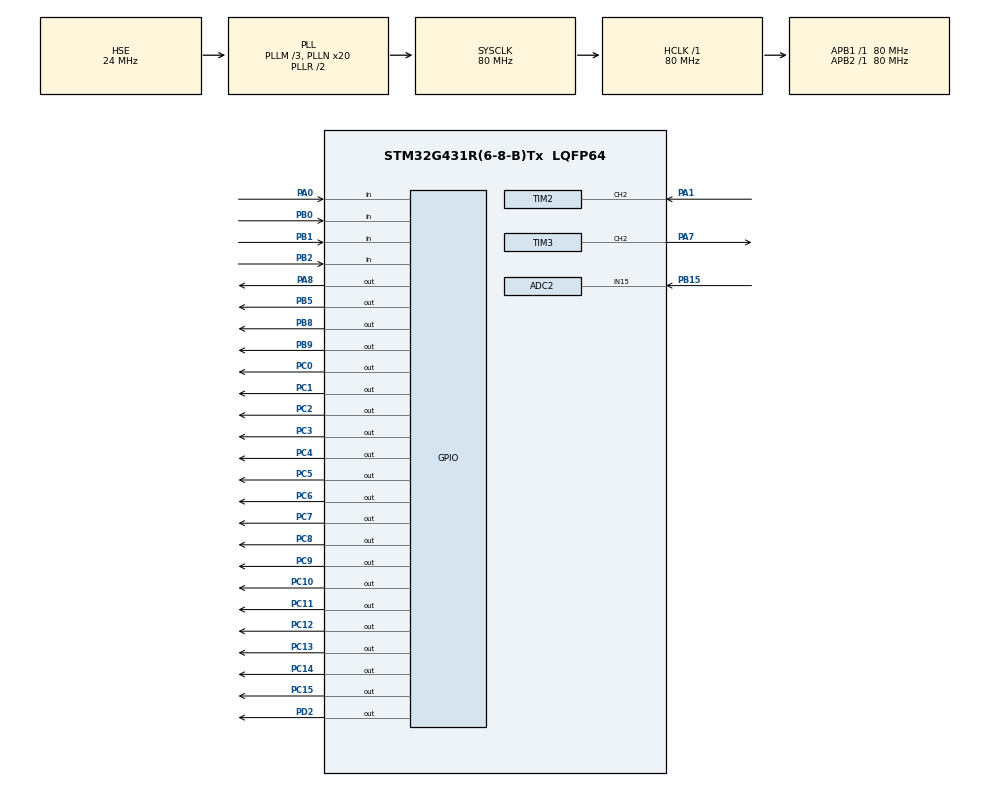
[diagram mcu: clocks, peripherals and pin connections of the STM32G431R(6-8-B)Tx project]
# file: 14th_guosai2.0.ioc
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ADC2.Channel-0\#ChannelRegularConversion=ADC_CHANNEL_15
ADC2.NbrOfConversionFlag=1
ADC2.OffsetNumber-0\#ChannelRegularConversion=ADC_OFFSET_NONE
ADC2.Rank-0\#ChannelRegularConversion=1
ADC2.SamplingTime-0\#ChannelRegularConversion=ADC_SAMPLETIME_2CYCLES_5
Mcu.Family=STM32G4
Mcu.Name=STM32G431R(6-8-B)Tx
Mcu.Package=LQFP64
NVIC.PriorityGroup=NVIC_PRIORITYGROUP_4
NVIC.TIM2_IRQn=true\:0\:0\:false\:false\:true\:true\:true\:true
NVIC.TIM4_IRQn=true\:0\:0\:false\:false\:true\:true\:true\:true
NVIC.TIM6_DAC_IRQn=true\:0\:0\:false\:false\:true\:true\:true\:true
PA0.GPIO_PuPd=GPIO_PULLUP
PA0.Signal=GPIO_Input
PA1.Signal=S_TIM2_CH2
PA13.Mode=Serial_Wire
PA13.Signal=SYS_JTMS-SWDIO
PA14.Mode=Serial_Wire
PA14.Signal=SYS_JTCK-SWCLK
PA7.Signal=S_TIM3_CH2
PA8.Signal=GPIO_Output
PB0.GPIO_PuPd=GPIO_PULLUP
PB0.Signal=GPIO_Input
PB1.GPIO_PuPd=GPIO_PULLUP
PB1.Signal=GPIO_Input
PB15.Mode=IN15-Single-Ended
PB15.Signal=ADC2_IN15
PB2.GPIO_PuPd=GPIO_PULLUP
PB2.Signal=GPIO_Input
PB5.Signal=GPIO_Output
PB8-BOOT0.Signal=GPIO_Output
PB9.Signal=GPIO_Output
PC0.Signal=GPIO_Output
PC1.Signal=GPIO_Output
PC10.PinState=GPIO_PIN_SET
PC10.Signal=GPIO_Output
PC11.PinState=GPIO_PIN_SET
PC11.Signal=GPIO_Output
PC12.PinState=GPIO_PIN_SET
PC12.Signal=GPIO_Output
PC13.PinState=GPIO_PIN_SET
PC13.Signal=GPIO_Output
PC14-OSC32_IN.PinState=GPIO_PIN_SET
PC14-OSC32_IN.Signal=GPIO_Output
PC15-OSC32_OUT.PinState=GPIO_PIN_SET
PC15-OSC32_OUT.Signal=GPIO_Output
PC2.Signal=GPIO_Output
PC3.Signal=GPIO_Output
PC4.Signal=GPIO_Output
PC5.Signal=GPIO_Output
PC6.Signal=GPIO_Output
PC7.Signal=GPIO_Output
PC8.PinState=GPIO_PIN_SET
PC8.Signal=GPIO_Output
PC9.PinState=GPIO_PIN_SET
PC9.Signal=GPIO_Output
PD2.Signal=GPIO_Output
PF0-OSC_IN.Mode=HSE-External-Oscillator
PF0-OSC_IN.Signal=RCC_OSC_IN
PF1-OSC_OUT.Mode=HSE-External-Oscillator
PF1-OSC_OUT.Signal=RCC_OSC_OUT
ProjectManager.HeapSize=0x200
ProjectManager.StackSize=0x400
ProjectManager.TargetToolchain=MDK-ARM V5.32
RCC.ADC12Freq_Value=80000000
RCC.AHBFreq_Value=80000000
RCC.APB1Freq_Value=80000000
RCC.APB1TimFreq_Value=80000000
RCC.APB2Freq_Value=80000000
RCC.APB2TimFreq_Value=80000000
RCC.CortexFreq_Value=80000000
RCC.EXTERNAL_CLOCK_VALUE=12288000
RCC.HCLKFreq_Value=80000000
RCC.HSE_VALUE=24000000
RCC.HSI48_VALUE=48000000
RCC.HSI_VALUE=16000000
RCC.LSE_VALUE=32768
RCC.PLLM=RCC_PLLM_DIV3
RCC.PLLN=20
RCC.PLLSourceVirtual=RCC_PLLSOURCE_HSE
RCC.SYSCLKFreq_VALUE=80000000
RCC.SYSCLKSource=RCC_SYSCLKSOURCE_PLLCLK
RCC.USBFreq_Value=80000000
RCC.VCOOutputFreq_Value=160000000
SH.S_TIM2_CH2.0=TIM2_CH2,Input_Capture2_from_TI2
SH.S_TIM3_CH2.0=TIM3_CH2,PWM Generation2 CH2
TIM2.Channel-Input_Capture2_from_TI2=TIM_CHANNEL_2
TIM2.Prescaler=80-1
TIM3.Channel-PWM\ Generation2\ CH2=TIM_CHANNEL_2
TIM3.PeriodNoDither=100-1
TIM3.Prescaler=800-1
TIM4.PeriodNoDither=10000-1
TIM4.Prescaler=80-1
TIM6.PeriodNoDither=10000-1
TIM6.Prescaler=80-1
VP_SYS_VS_DBSignals.Mode=DisableDeadBatterySignals
VP_TIM2_VS_ClockSourceINT.Mode=Internal
VP_TIM3_VS_ClockSourceINT.Mode=Internal
VP_TIM4_VS_ClockSourceINT.Mode=Internal
VP_TIM6_VS_ClockSourceINT.Mode=Enable_Timer
board=custom

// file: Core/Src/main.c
/* USER CODE BEGIN Header */
/**
  ******************************************************************************
  * @file           : main.c
  * @brief          : Main program body
  ******************************************************************************
  * @attention
  *
  * Copyright (c) 2024 STMicroelectronics.
  * All rights reserved.
  *
  * This software is licensed under terms that can be found in the LICENSE file
  * in the root directory of this software component.
  * If no LICENSE file comes with this software, it is provided AS-IS.
  *
  ******************************************************************************
  */
/* USER CODE END Header */
#include "main.h"
#include "adc.h"
#include "tim.h"
#include "gpio.h"

/* USER CODE BEGIN Includes */

#include "stdio.h"
#include "string.h"

#include "led.h"
#include "lcd.h"
#include "myadc.h"
#include "timer.h"
#include "ds18b20_hal.h"

/* USER CODE END Includes */

/* USER CODE BEGIN PTD */

unsigned char ucled=0x00;
unsigned char lcd_text[30];
unsigned char view;

__IO uint32_t uwTick_Lcd;
__IO uint32_t uwTick_Led;
__IO uint32_t uwTick_Review;

double A;
double T;

int FH=2000;
double AH=3.0;
int TH=30;

int FH_real=2000;
double AH_real=3.0;
int TH_real=30;

int FN=0;
int AN=0;
int TN=0;

int FP=1;
double VP=0.9;
int TT=6;

int FP_real=1;
double VP_real=0.9;
int TT_real=6;

unsigned char change_fset;
unsigned char change_para;

unsigned char review=0;
//unsigned int review_sec=0;

unsigned int review_index;
unsigned char review_flag=0;

double store_F[1000];
double store_D[1000];
double store_A[1000];

unsigned char reset;

//记录信号
unsigned char storing=0;

extern unsigned int reviewA_sec;
extern unsigned int reviewF_sec;

unsigned char store_flag=0;
unsigned int store_index=0;
/* USER CODE END PTD */

void SystemClock_Config(void);
/* USER CODE BEGIN PFP */

void key_proc(void);
void lcd_proc(void);
void led_proc(void);
void review_proc(void);
void store_proc(void);

/* USER CODE END PFP */

int main(void)
{

  /* MCU Configuration--------------------------------------------------------*/

  /* Reset of all peripherals, Initializes the Flash interface and the Systick. */
  HAL_Init();

  /* Configure the system clock */
  SystemClock_Config();

  /* Initialize all configured peripherals */
  MX_GPIO_Init();
  MX_ADC2_Init();
  MX_TIM2_Init();
  MX_TIM3_Init();
  MX_TIM4_Init();
  MX_TIM6_Init();
  /* USER CODE BEGIN 2 */

    led_disp(ucled);

    LCD_Init();
    LCD_Clear(Black);
    LCD_SetBackColor(Black);
    LCD_SetTextColor(White);

    HAL_TIM_Base_Start_IT(&htim4);
    HAL_TIM_Base_Start_IT(&htim6);

    HAL_TIM_IC_Start_IT(&htim2,TIM_CHANNEL_2);
    HAL_TIM_PWM_Start(&htim3,TIM_CHANNEL_2);

  /* USER CODE END 2 */

  /* Infinite loop */
  while (1)
  {

    /* USER CODE BEGIN 3 */
      key_proc();
      store_proc();
      review_proc();
      lcd_proc();
      led_proc();

  }
  /* USER CODE END 3 */
}

void SystemClock_Config(void)
{
  RCC_OscInitTypeDef RCC_OscInitStruct = {0};
  RCC_ClkInitTypeDef RCC_ClkInitStruct = {0};

  /** Configure the main internal regulator output voltage
  */
  HAL_PWREx_ControlVoltageScaling(PWR_REGULATOR_VOLTAGE_SCALE1);

  /** Initializes the RCC Oscillators according to the specified parameters
  * in the RCC_OscInitTypeDef structure.
  */
  RCC_OscInitStruct.OscillatorType = RCC_OSCILLATORTYPE_HSE;
  RCC_OscInitStruct.HSEState = RCC_HSE_ON;
  RCC_OscInitStruct.PLL.PLLState = RCC_PLL_ON;
  RCC_OscInitStruct.PLL.PLLSource = RCC_PLLSOURCE_HSE;
  RCC_OscInitStruct.PLL.PLLM = RCC_PLLM_DIV3;
  RCC_OscInitStruct.PLL.PLLN = 20;
  RCC_OscInitStruct.PLL.PLLP = RCC_PLLP_DIV2;
  RCC_OscInitStruct.PLL.PLLQ = RCC_PLLQ_DIV2;
  RCC_OscInitStruct.PLL.PLLR = RCC_PLLR_DIV2;
  if (HAL_RCC_OscConfig(&RCC_OscInitStruct) != HAL_OK)
  {
    Error_Handler();
  }

  /** Initializes the CPU, AHB and APB buses clocks
  */
  RCC_ClkInitStruct.ClockType = RCC_CLOCKTYPE_HCLK|RCC_CLOCKTYPE_SYSCLK
                              |RCC_CLOCKTYPE_PCLK1|RCC_CLOCKTYPE_PCLK2;
  RCC_ClkInitStruct.SYSCLKSource = RCC_SYSCLKSOURCE_PLLCLK;
  RCC_ClkInitStruct.AHBCLKDivider = RCC_SYSCLK_DIV1;
  RCC_ClkInitStruct.APB1CLKDivider = RCC_HCLK_DIV1;
  RCC_ClkInitStruct.APB2CLKDivider = RCC_HCLK_DIV1;

  if (HAL_RCC_ClockConfig(&RCC_ClkInitStruct, FLASH_LATENCY_2) != HAL_OK)
  {
    Error_Handler();
  }
}

/* USER CODE BEGIN 4 */

void store_proc(void)
{
    if(1==storing)
    {
        store_F[store_index]=pa1_frq;
        store_D[store_index]=pa1_duty;
        store_A[store_index]=A;
       // store_flag=0;
    }

}

void review_proc(void)
{
//    if((uwTick-uwTick_Review)<100)return;
    unsigned int pre=0;
    double duty=0;

    if(1==review){
        //review_flag=0;
            //脉冲回放
            //频率=（80000000/预分频系数）/重装载值
            //占空比=比较值/重装载值*100；
            if(1==review_flag)
            {
                review_flag=0;
                review_index++;
            }
            pre=(80000000.0/100)/(store_F[review_index]/FP_real)-1;
            duty=store_D[review_index];
            __HAL_TIM_SET_PRESCALER(&htim3,pre);
            __HAL_TIM_SetCompare(&htim3,TIM_CHANNEL_2,duty);
            HAL_TIM_GenerateEvent(&htim3,TIM_EVENTSOURCE_UPDATE);
    }
    if(2==review)
    {
        //review_flag=0;
        pre=80000000/100/1000-1;
        //频率固定为1KHZ
        if(2==review_flag)
         {
                review_flag=0;
                review_index++;
         }
        __HAL_TIM_SET_PRESCALER(&htim3,pre);
        HAL_TIM_GenerateEvent(&htim3,TIM_EVENTSOURCE_UPDATE);

        if(store_A[review_index]<=VP_real)
        {
            duty=10.0;
        }
        else if(store_A[review_index]>=3.3)
        {
            duty=100.0;
        }
        else
        {
            duty=(90.0/(3.3-VP_real))*store_A[review_index]+(10.0-90.0*VP_real/(3.3-VP_real));
        }
        __HAL_TIM_SetCompare(&htim3,TIM_CHANNEL_2,duty);
    }

    if(0==view)
    {
      review_index=0;
    }

}

void key_proc(void)
{
    if(0==storing){
        if(1==key[0].single_flag)
        {
            key[0].single_flag=0;
            //实时数据界面到报警界面，当前可调整的报警参数是频率上限参数
            if(0==view)change_para=0;
            //报警统计界面进入到回放设置界面，当前可调整的是脉冲信号回放分频系数
            if(2==view)change_fset=0;

            if(1==view)//参数设置界面退出时新参数生效
            {
                FH_real=FH;
                AH_real=AH;
                TH_real=TH;
            }

            if(3==view)//回放设置界面退出时新参数生效
            {
                FP_real=FP;
                VP_real=VP;
                TT_real=TT;
            }

            view=(view+1)%4;
            LCD_Clear(Black);

        }
        else if(1==key[1].single_flag)
        {
            key[1].single_flag=0;
            switch(view)
            {
                case 0://实时数据界面下，记录电压和PA引脚的脉冲信号频率、占空比
                   storing=1;
                    memset(store_A,0,sizeof(store_A));
                    memset(store_D,0,sizeof(store_D));
                    memset(store_F,0,sizeof(store_F));
                   store_index=0;
                    break;
                case 1://报警参数界面下，选择修改的参数，从报警界面退出时新的参数生效
                    change_para=(change_para+1)%3;
                    break;
                case 2://报警统计界面下，清零频率、电压和温度报警统计次数
                    FN=0;
                    AN=0;
                    TN=0;
                    break;
                case 3://回放设置界面下，切换选择修改的回放参数，从回放设置界面退出时，新的参数生效
                    change_fset=(change_fset+1)%3;
                    break;
            }
        }
        else if((1==key[2].long_flag)&&(1==key[3].long_flag))
        {
            key[2].long_flag=0;
            key[3].long_flag=0;
            key[2].single_flag=0;
            key[3].single_flag=0;
            reset=1;
        }
        else if(1==key[2].single_flag)
        {
            key[2].single_flag=0;
            key[2].long_flag=0;
            switch(view)
            {
                case 0://实时数据界面下，若完成了数据记录，则通过PA7引脚回放电压信号
                    if(store_index!=0){
                      //  ucled|=0x80;
                     review=2;
                     review_index=0;
                     reviewA_sec=0;
                    }
                    break;
                case 1://报警参数界面下，加
                    switch(change_para)
                    {
                        case 0://修改频率上限（FH）
                            FH+=1000;
                            if(FH==11000)
                            {
                                FH=10000;
                            }
                            break;
                        case 1://修改电压上限（AH）
                            AH+=0.3;
                            if(AH>3.3)
                            {
                                AH=3.3;
                            }
                            break;
                        case 2://修改温度上限（TH）
                            TH+=1;
                            if(TH>80)
                            {
                                TH=80;
                            }
                            break;
                    }
                    break;
                case 3://回放设置界面下，加
                    switch(change_fset)
                    {
                        case 0://修改脉冲回放分频系数（FP）
                            FP+=1;
                            if(FP>10)
                            {
                                FP=10;
                            }
                            break;
                        case 1://修改电压回放最小值（VP）
                            VP+=0.3;
                            if(VP>3.3)
                            {
                                VP=3.3;
                            }
                            break;
                        case 2://修改记录回放时间（TT）
                            TT+=2;
                            if(TT>10)
                            {
                                TT=10;
                            }
                            break;
                    }
                    break;
            }
        }
        else if(1==key[3].single_flag)
        {
            key[3].single_flag=0;
            key[3].long_flag=0;
            switch(view)
            {
               case 0://实时数据界面下，若完成了数据记录，则通过PA7引脚回放脉冲信号
                   if(store_index!=0){
                     review=1;
                     review_index=0;
                     reviewF_sec=0;
                   }
                     break;
                case 1://报警参数界面下，加
                    switch(change_para)
                    {
                        case 0://修改频率上限（FH）
                            FH-=1000;
                            if(FH<1000)
                            {
                                FH=1000;
                            }
                            break;
                        case 1://修改电压上限（AH）
                            AH-=0.3;
                            if(AH<0)
                            {
                                AH=0;
                            }
                            break;
                        case 2://修改温度上限（TH）
                            TH-=1;
                            if(TH<0)
                            {
                                TH=0;
                            }
                            break;
                    }
                    break;
                case 3://回放设置界面下，加
                    switch(change_fset)
                    {
                        case 0://修改脉冲回放分频系数（FP）
                            FP-=1;
                            if(FP<1)
                            {
                                FP=1;
                            }
                            break;
                        case 1://修改电压回放最小值（VP）
                            VP-=0.3;
                            if(VP<0)
                            {
                                VP=0;
                            }
                            break;
                        case 2://修改记录回放时间（TT）
                            TT-=2;
                            if(TT<2)
                            {
                                TT=2;
                            }
                            break;
                    }
                    break;
            }
        }
    }
    else
    {
        key[0].single_flag=0;
        key[0].long_flag=0;
        key[1].single_flag=0;
        key[1].long_flag=0;
        key[2].single_flag=0;
        key[2].long_flag=0;
        key[3].single_flag=0;
        key[3].long_flag=0;
    }
    if(reset==1)
    {
            reset=0;

            AH=3.0;
            FH=2000;
            TH=30;
            FP=1;
            VP=0.9;
            TT=6;
            FN=0;
            AN=0;
            TN=0;
            ucled=0x00;
            view=0;

            FP_real=1;
            VP_real=0.9;
            TT_real=6;
            FH_real=2000;
            AH_real=3.0;
            TH_real=30;
    }
}

void lcd_proc(void)
{
    if((uwTick-uwTick_Lcd)<100)return;
    uwTick_Lcd=uwTick;

    A=Get_ADC(&hadc2);
    T=temperature_read();

    switch(view)
    {
        case 0://实时数据界面
            memset(lcd_text,0,sizeof(lcd_text));
            sprintf((char *)lcd_text,"        DATA         ");
            LCD_DisplayStringLine(Line1,lcd_text);

            memset(lcd_text,0,sizeof(lcd_text));
            sprintf((char *)lcd_text,"     F=%d                 ",pa1_frq);
            LCD_DisplayStringLine(Line3,lcd_text);

            memset(lcd_text,0,sizeof(lcd_text));
            sprintf((char *)lcd_text,"     D=%0.0f%%             ",pa1_duty);
            LCD_DisplayStringLine(Line4,lcd_text);

            memset(lcd_text,0,sizeof(lcd_text));
            sprintf((char *)lcd_text,"     A=%0.1f             ",A);
            LCD_DisplayStringLine(Line5,lcd_text);

            memset(lcd_text,0,sizeof(lcd_text));
            sprintf((char *)lcd_text,"     T=%0.1f            ",T);
            LCD_DisplayStringLine(Line6,lcd_text);

            break;
        case 1://报警参数界面
            memset(lcd_text,0,sizeof(lcd_text));
            sprintf((char *)lcd_text,"        PARA         ");
            LCD_DisplayStringLine(Line1,lcd_text);

            memset(lcd_text,0,sizeof(lcd_text));
            sprintf((char *)lcd_text,"     FH=%d         ",FH);
            LCD_DisplayStringLine(Line3,lcd_text);

            memset(lcd_text,0,sizeof(lcd_text));
            sprintf((char *)lcd_text,"     AH=%0.1f      ",AH);
            LCD_DisplayStringLine(Line4,lcd_text);

            memset(lcd_text,0,sizeof(lcd_text));
            sprintf((char *)lcd_text,"     TH=%d      ",TH);
            LCD_DisplayStringLine(Line5,lcd_text);
            break;
        case 2://报警统计界面
            memset(lcd_text,0,sizeof(lcd_text));
            sprintf((char *)lcd_text,"        RECD         ");
            LCD_DisplayStringLine(Line1,lcd_text);

            memset(lcd_text,0,sizeof(lcd_text));
            sprintf((char *)lcd_text,"     FN=%d         ",FN);
            LCD_DisplayStringLine(Line3,lcd_text);

            memset(lcd_text,0,sizeof(lcd_text));
            sprintf((char *)lcd_text,"     AN=%d         ",AN);
            LCD_DisplayStringLine(Line4,lcd_text);

            memset(lcd_text,0,sizeof(lcd_text));
            sprintf((char *)lcd_text,"     TN=%d         ",TN);
            LCD_DisplayStringLine(Line5,lcd_text);

            break;
        case 3://回放设置界面
            memset(lcd_text,0,sizeof(lcd_text));
            sprintf((char *)lcd_text,"        FSET         ");
            LCD_DisplayStringLine(Line1,lcd_text);

            memset(lcd_text,0,sizeof(lcd_text));
            sprintf((char *)lcd_text,"     FP=%d         ",FP);
            LCD_DisplayStringLine(Line3,lcd_text);

            memset(lcd_text,0,sizeof(lcd_text));
            sprintf((char *)lcd_text,"     VP=%0.1f      ",VP);
            LCD_DisplayStringLine(Line4,lcd_text);

            memset(lcd_text,0,sizeof(lcd_text));
            sprintf((char *)lcd_text,"     TT=%d      ",TT);
            LCD_DisplayStringLine(Line5,lcd_text);
            break;
    }

}

void led_proc(void)
{
    if((uwTick-uwTick_Led)<50)return;
    uwTick_Led=uwTick;

    if(pa1_frq>FH_real)
    {
        //如果原本LD4是熄灭状态
        if((ucled&0x08)==0)
        {
            FN++;
        }
        ucled|=0x08;
    }
    else
    {
        ucled&=0xf7;
    }

    if(A>AH_real)
    {
        //如果LD5是熄灭状态
        if((ucled&0x10)==0)
        {
            AN++;
        }
        ucled|=0x10;
    }
    else
    {
        ucled&=0xef;
    }

    if(T>TH_real)
    {
        //如果LD6是熄灭状态
        if((ucled&0x20)==0)
        {
            TN++;

        }
        ucled|=0x20;
    }
    else
    {
        ucled&=0xdf;
    }

    led_disp(ucled);
}

/* USER CODE END 4 */

void Error_Handler(void)
{
  __disable_irq();
  while (1)
  {
  }
}
